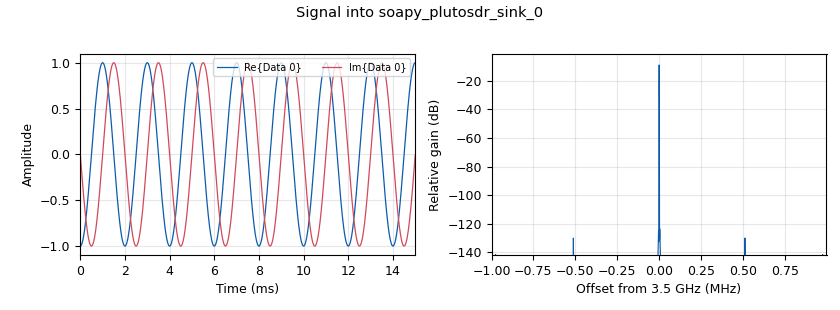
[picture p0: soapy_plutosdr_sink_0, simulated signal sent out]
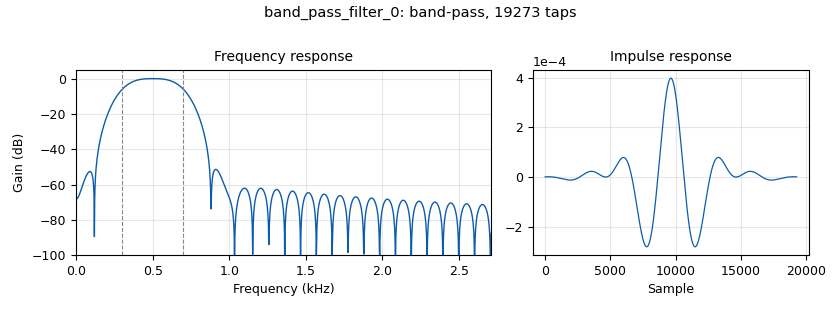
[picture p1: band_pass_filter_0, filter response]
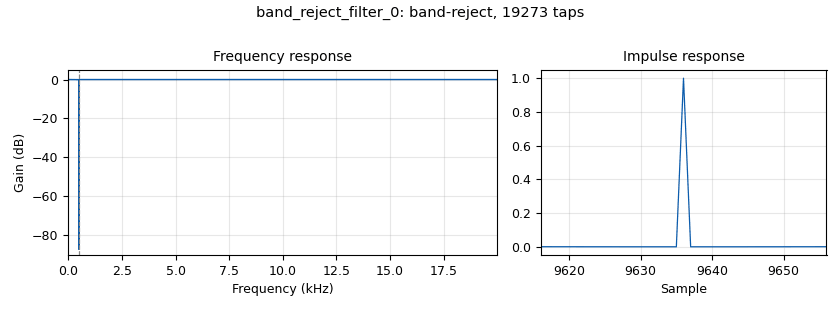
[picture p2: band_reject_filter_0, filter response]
options:
  parameters:
    generate_options: qt_gui
    id: pluto_5G5_test
    output_language: python
    title: Pluto 5.5 GHz Test
  states: {}

blocks:
- name: deci
  id: variable
  parameters:
    value: '50'
  states: {}
- name: doppler_gain
  id: variable_qtgui_range
  parameters:
    start: '0'
    step: '1'
    stop: '100'
    value: '40'
  states: {}
- name: samp_rate
  id: variable
  parameters:
    value: '2000000'
  states: {}
- name: switch_1
  id: variable
  parameters:
    value: '0'
  states: {}
- name: tone_freq
  id: variable
  parameters:
    value: '500'
  states: {}
- name: tx_gain
  id: variable_qtgui_range
  parameters:
    gui_hint: 0, 0, 1, 1
    start: '0'
    step: '1'
    stop: '89'
    value: '40'
  states: {}
- name: analog_sig_source_x_0
  id: analog_sig_source_x
  parameters:
    amp: '1'
    freq: '500'
    offset: '0'
    phase: '0'
    samp_rate: samp_rate
    type: complex
    waveform: analog.GR_COS_WAVE
  states: {}
- name: band_pass_filter_0
  id: band_pass_filter
  parameters:
    decim: deci
    gain: '1'
    high_cutoff_freq: '700'
    low_cutoff_freq: '300'
    samp_rate: samp_rate
    type: fir_filter_ccf
    width: '250'
    win: window.WIN_HAMMING
  states: {}
- name: band_reject_filter_0
  id: band_reject_filter
  parameters:
    decim: '1'
    gain: '1'
    high_cutoff_freq: tone_freq+5
    low_cutoff_freq: tone_freq-5
    samp_rate: samp_rate/50
    type: fir_filter_ccf
    width: '5'
    win: window.WIN_HAMMING
  states: {}
- name: blocks_complex_to_mag_1
  id: blocks_complex_to_mag
  parameters: {}
  states: {}
- name: blocks_complex_to_mag_1_0
  id: blocks_complex_to_mag
  parameters: {}
  states: {}
- name: blocks_multiply_conjugate_cc_0
  id: blocks_multiply_conjugate_cc
  parameters: {}
  states: {}
- name: blocks_multiply_const_vxx_0
  id: blocks_multiply_const_vxx
  parameters:
    const: doppler_gain
    type: complex
  states: {}
- name: blocks_selector_0
  id: blocks_selector
  parameters:
    enabled: 'True'
    input_index: switch_1
    num_inputs: '2'
    num_outputs: '1'
    output_index: '0'
    type: complex
  states: {}
- name: blocks_selector_1
  id: blocks_selector
  parameters:
    enabled: 'True'
    input_index: '0'
    num_inputs: '1'
    num_outputs: '2'
    output_index: switch_1
    type: complex
  states: {}
- name: blocks_stream_to_vector_0
  id: blocks_stream_to_vector
  parameters:
    num_items: '8192'
    type: complex
  states: {}
- name: blocks_stream_to_vector_0_0
  id: blocks_stream_to_vector
  parameters:
    num_items: '8192'
    type: complex
  states: {}
- name: blocks_vector_to_stream_0
  id: blocks_vector_to_stream
  parameters:
    num_items: '8192'
    type: complex
  states: {}
- name: blocks_vector_to_stream_0_0
  id: blocks_vector_to_stream
  parameters:
    num_items: '8192'
    type: complex
  states: {}
- name: epy_block_0
  id: epy_block
  parameters:
    _source_code: |-
      import numpy as np
      from gnuradio import gr


      class doppler_velocity_calc(gr.sync_block):
          """
          A custom GNU Radio block to calculate velocity from a simulated frequency shift.

          Attributes:
              transmitted_freq (float): The frequency of the transmitted signal in Hz.
              speed_of_light (float): The speed of light in meters per second, typically 3e8.
          """
          def __init__(self, transmitted_freq=500, speed_of_light=3e8, samp_rate=40000, fft_size = 8192, carrier_freq=3.5e9):
              gr.sync_block.__init__(self, name="doppler_velocity_calc", in_sig=[np.float32], out_sig=[np.float32])
              self.transmitted_freq = transmitted_freq
              self.speed_of_light = speed_of_light
              self.samp_rate = samp_rate
              self.fft_size = fft_size
              self.carrier_freq = carrier_freq

          def work(self, input_items, output_items):
              in0 = input_items[0]
              out = output_items[0]
              part_of_in0 = in0[4050:8192]
              input_max = np.argmax(part_of_in0)
              frequency_bin_width = self.samp_rate / self.fft_size
              if np.max(part_of_in0) < 50:
                  out[:] = 0
                  #print("start frame")
                  #print('index of max:', input_max)
                  #print('value of max:', part_of_in0[input_max])
                  #print('bin width:', frequency_bin_width)
                  #print('length of input stream:', len(in0))
                  #print('velocity:', out)
                  #print("end frame")
              else: 
                  delta_f = (input_max - (4198-4050)) * frequency_bin_width
                  velocity = (delta_f * self.speed_of_light) / (2*self.carrier_freq)
                  out[:] = velocity
                  #print("start frame")
                  #print('index of max:', input_max)
                  #print('value of max:', part_of_in0[input_max])
                  #print('bin width:', frequency_bin_width)
                  #print('length of input stream:', len(in0))
                  #print('velocity:', out)
                  #print("end frame")

              return len(output_items[0])
    carrier_freq: '3500000000'
    fft_size: '8192'
    samp_rate: '40000'
    speed_of_light: '300000000.0'
    transmitted_freq: '500'
  states: {}
- name: epy_block_0_0
  id: epy_block
  parameters:
    _source_code: |-
      import numpy as np
      from gnuradio import gr


      class Distance_calc(gr.sync_block):
          """
          A custom GNU Radio block to calculate velocity from a simulated frequency shift.

          Attributes:
              transmitted_freq (float): The frequency of the transmitted signal in Hz.
              speed_of_light (float): The speed of light in meters per second, typically 3e8.
          """
          def __init__(self, slope=500, speed_of_light=3e8, samp_rate=40000, fft_size = 8192):
              gr.sync_block.__init__(self, name="Distance_calc", in_sig=[np.float32], out_sig=[np.float32])
              self.slope = slope
              self.speed_of_light = speed_of_light
              self.samp_rate = samp_rate
              self.fft_size = fft_size

          def work(self, input_items, output_items):
              in0 = input_items[0]
              out = output_items[0]
              input_max = np.argmax(in0)
              frequency_bin_width = self.samp_rate / self.fft_size
              delta_f = (input_max - 4095) * frequency_bin_width
              distance = np.abs(self.slope * delta_f * (self.speed_of_light / 2))
              out[:] = distance
              return len(output_items[0])
    fft_size: '8192'
    samp_rate: '40000'
    slope: '2.5627e-4'
    speed_of_light: '300000000.0'
  states: {}
- name: epy_block_0_1
  id: epy_block
  parameters:
    _source_code: "import numpy as np\nfrom gnuradio import gr\n\nclass signal_source_repeating_chirp(gr.sync_block):\n    \"\"\"\n    A Python block that generates a repeating linear chirp signal in GNU Radio.\n    \"\"\"\n    def __init__(self, samp_rate = 1, start_freq = 0, end_freq = 0, duration = 1, amplitude = 0, offset = 0, initial_phase = 0):\n        gr.sync_block.__init__(\n            self,\n            name='Signal Source Repeating Chirp',  # Block name\n            in_sig=None,                           # No input signal\n            out_sig=[np.complex64]                 # Output signal type is complex\n        )\n        # Initialize block parameters\n        self.samp_rate = samp_rate\n        self.start_freq = start_freq\n        self.end_freq = end_freq\n        self.amplitude = amplitude\n        self.offset = offset\n        self.initial_phase = initial_phase\n        self.duration = duration\n        self.num_samples = int(duration * samp_rate)\n        self.frequency_slope = (end_freq - start_freq) / self.num_samples\n        self.phase = initial_phase\n        self.sample_count = 0\n        \n    def work(self, input_items, output_items):\n        out = output_items[0]\n        for i in range(len(out)):\n            current_sample = self.sample_count % self.num_samples\n            phase_t = (2 * np.pi * (self.start_freq * current_sample + 0.5 * self.frequency_slope * current_sample**2) / self.samp_rate) + self.initial_phase\n            \n            out[i] = self.amplitude * np.exp(1j * phase_t) + self.offset\n            self.sample_count += 1\n    \n            # When completing a chirp cycle, update initial_phase for smooth transition\n            if current_sample == self.num_samples - 1:\n                self.initial_phase = phase_t % (2 * np.pi)\n                self.sample_count = 0  # Optionally reset sample count for clarity, not strictly necessary\n\n        return len(out)\n\n"
    amplitude: '1'
    duration: '10'
    end_freq: '10000'
    initial_phase: '0'
    offset: '0'
    samp_rate: samp_rate
    start_freq: '5000'
  states: {}
- name: epy_block_1
  id: epy_block
  parameters:
    _source_code: |-
      import numpy as np
      from gnuradio import gr


      class average_speed(gr.sync_block): 
          def __init__(self, target_points = 262144):  
              gr.sync_block.__init__(self, name='average_speed', in_sig=[np.float32], out_sig=[np.float32])
              self.target_points = target_points


          def work(self, input_items, output_items):
              in0 = input_items[0]
              out = output_items[0]
              accumulated_points = np.array([])
              while accumulated_points.size < self.target_points:
                  accumulated_points = np.concatenate((accumulated_points, in0))
              accumulated_points = accumulated_points[:self.target_points]
              sum_of_points = np.sum(accumulated_points)
              average = sum_of_points / self.target_points
              accumulated_points = np.array([])
              out[:] = average
              return len(output_items[0])
    target_points: '262144'
  states: {}
- name: fft_vxx_0
  id: fft_vxx
  parameters:
    fft_size: '8192'
    forward: 'True'
    shift: 'True'
    type: complex
    window: window.blackmanharris(8192)
  states: {}
- name: fft_vxx_0_0
  id: fft_vxx
  parameters:
    fft_size: '8192'
    forward: 'True'
    shift: 'True'
    type: complex
    window: window.blackmanharris(8192)
  states: {}
- name: qtgui_number_sink_0
  id: qtgui_number_sink
  parameters:
    autoscale: 'True'
    graph_type: qtgui.NUM_GRAPH_HORIZ
    max: '10'
    min: '-10'
    type: float
  states: {}
- name: qtgui_number_sink_1_0
  id: qtgui_number_sink
  parameters:
    autoscale: 'True'
    graph_type: qtgui.NUM_GRAPH_HORIZ
    max: '10'
    min: '-10'
    type: float
  states: {}
- name: rational_resampler_xxx_0
  id: rational_resampler_xxx
  parameters:
    decim: '3'
    interp: '1'
    type: ccc
  states: {}
- name: soapy_plutosdr_sink_0
  id: soapy_plutosdr_sink
  parameters:
    bandwidth: '20000000'
    center_freq: 3.5e9
    gain: tx_gain
    samp_rate: samp_rate
    type: fc32
  states: {}
- name: soapy_plutosdr_source_0
  id: soapy_plutosdr_source
  parameters:
    center_freq: 3.5e9
    gain: '64'
    samp_rate: samp_rate
    type: fc32
  states: {}

connections:
- [analog_sig_source_x_0, '0', blocks_selector_0, '0']
- [band_pass_filter_0, '0', band_reject_filter_0, '0']
- [band_reject_filter_0, '0', blocks_multiply_const_vxx_0, '0']
- [blocks_complex_to_mag_1, '0', epy_block_0, '0']
- [blocks_complex_to_mag_1_0, '0', epy_block_0_0, '0']
- [blocks_multiply_conjugate_cc_0, '0', rational_resampler_xxx_0, '0']
- [blocks_multiply_const_vxx_0, '0', blocks_stream_to_vector_0, '0']
- [blocks_selector_0, '0', soapy_plutosdr_sink_0, '0']
- [blocks_selector_1, '0', band_pass_filter_0, '0']
- [blocks_selector_1, '1', blocks_multiply_conjugate_cc_0, '0']
- [blocks_stream_to_vector_0, '0', fft_vxx_0, '0']
- [blocks_stream_to_vector_0_0, '0', fft_vxx_0_0, '0']
- [blocks_vector_to_stream_0, '0', blocks_complex_to_mag_1, '0']
- [blocks_vector_to_stream_0_0, '0', blocks_complex_to_mag_1_0, '0']
- [epy_block_0, '0', epy_block_1, '0']
- [epy_block_0_0, '0', qtgui_number_sink_1_0, '0']
- [epy_block_0_1, '0', blocks_multiply_conjugate_cc_0, '1']
- [epy_block_0_1, '0', blocks_selector_0, '1']
- [epy_block_1, '0', qtgui_number_sink_0, '0']
- [fft_vxx_0, '0', blocks_vector_to_stream_0, '0']
- [fft_vxx_0_0, '0', blocks_vector_to_stream_0_0, '0']
- [rational_resampler_xxx_0, '0', blocks_stream_to_vector_0_0, '0']
- [soapy_plutosdr_source_0, '0', blocks_selector_1, '0']

metadata:
  file_format: 1
  grc_version: 3.10.9.2
